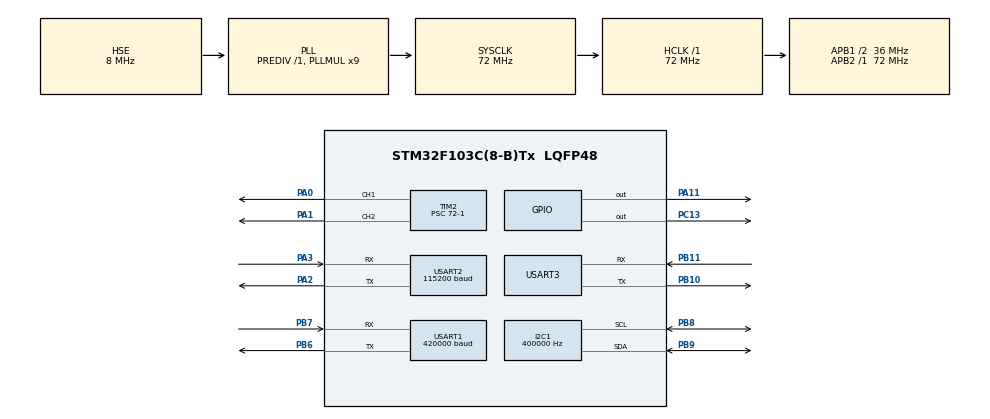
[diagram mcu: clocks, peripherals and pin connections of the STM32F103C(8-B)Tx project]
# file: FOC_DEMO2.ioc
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Dma.Request0=USART3_TX
Dma.Request1=USART3_RX
Dma.Request2=USART1_RX
Dma.Request3=USART1_TX
Dma.Request4=USART2_TX
Dma.Request5=USART2_RX
Dma.USART1_RX.2.Direction=DMA_PERIPH_TO_MEMORY
Dma.USART1_RX.2.Instance=DMA1_Channel5
Dma.USART1_RX.2.MemDataAlignment=DMA_MDATAALIGN_BYTE
Dma.USART1_RX.2.MemInc=DMA_MINC_ENABLE
Dma.USART1_RX.2.Mode=DMA_CIRCULAR
Dma.USART1_RX.2.PeriphDataAlignment=DMA_PDATAALIGN_BYTE
Dma.USART1_RX.2.PeriphInc=DMA_PINC_DISABLE
Dma.USART1_RX.2.Priority=DMA_PRIORITY_LOW
Dma.USART1_TX.3.Direction=DMA_MEMORY_TO_PERIPH
Dma.USART1_TX.3.Instance=DMA1_Channel4
Dma.USART1_TX.3.MemDataAlignment=DMA_MDATAALIGN_BYTE
Dma.USART1_TX.3.MemInc=DMA_MINC_ENABLE
Dma.USART1_TX.3.Mode=DMA_NORMAL
Dma.USART1_TX.3.PeriphDataAlignment=DMA_PDATAALIGN_BYTE
Dma.USART1_TX.3.PeriphInc=DMA_PINC_DISABLE
Dma.USART1_TX.3.Priority=DMA_PRIORITY_LOW
Dma.USART2_RX.5.Direction=DMA_PERIPH_TO_MEMORY
Dma.USART2_RX.5.Instance=DMA1_Channel6
Dma.USART2_RX.5.MemDataAlignment=DMA_MDATAALIGN_BYTE
Dma.USART2_RX.5.MemInc=DMA_MINC_ENABLE
Dma.USART2_RX.5.Mode=DMA_NORMAL
Dma.USART2_RX.5.PeriphDataAlignment=DMA_PDATAALIGN_BYTE
Dma.USART2_RX.5.PeriphInc=DMA_PINC_DISABLE
Dma.USART2_RX.5.Priority=DMA_PRIORITY_HIGH
Dma.USART2_TX.4.Direction=DMA_MEMORY_TO_PERIPH
Dma.USART2_TX.4.Instance=DMA1_Channel7
Dma.USART2_TX.4.MemDataAlignment=DMA_MDATAALIGN_BYTE
Dma.USART2_TX.4.MemInc=DMA_MINC_ENABLE
Dma.USART2_TX.4.Mode=DMA_NORMAL
Dma.USART2_TX.4.PeriphDataAlignment=DMA_PDATAALIGN_BYTE
Dma.USART2_TX.4.PeriphInc=DMA_PINC_DISABLE
Dma.USART2_TX.4.Priority=DMA_PRIORITY_HIGH
Dma.USART3_RX.1.Direction=DMA_PERIPH_TO_MEMORY
Dma.USART3_RX.1.Instance=DMA1_Channel3
Dma.USART3_RX.1.MemDataAlignment=DMA_MDATAALIGN_BYTE
Dma.USART3_RX.1.MemInc=DMA_MINC_ENABLE
Dma.USART3_RX.1.Mode=DMA_CIRCULAR
Dma.USART3_RX.1.PeriphDataAlignment=DMA_PDATAALIGN_BYTE
Dma.USART3_RX.1.PeriphInc=DMA_PINC_DISABLE
Dma.USART3_RX.1.Priority=DMA_PRIORITY_LOW
Dma.USART3_TX.0.Direction=DMA_MEMORY_TO_PERIPH
Dma.USART3_TX.0.Instance=DMA1_Channel2
Dma.USART3_TX.0.MemDataAlignment=DMA_MDATAALIGN_BYTE
Dma.USART3_TX.0.MemInc=DMA_MINC_ENABLE
Dma.USART3_TX.0.Mode=DMA_NORMAL
Dma.USART3_TX.0.PeriphDataAlignment=DMA_PDATAALIGN_BYTE
Dma.USART3_TX.0.PeriphInc=DMA_PINC_DISABLE
Dma.USART3_TX.0.Priority=DMA_PRIORITY_LOW
FREERTOS.HEAP_NUMBER=4
FREERTOS.Tasks01=defaultTask,24,128,StartDefaultTask,Default,NULL,Dynamic,NULL,NULL
FREERTOS.configCHECK_FOR_STACK_OVERFLOW=2
FREERTOS.configMINIMAL_STACK_SIZE=64
FREERTOS.configTOTAL_HEAP_SIZE=5120
FREERTOS.configUSE_NEWLIB_REENTRANT=1
IWDG.Prescaler=IWDG_PRESCALER_64
IWDG.Reload=2812
I2C1.ClockSpeed=400000
Mcu.Family=STM32F1
Mcu.Name=STM32F103C(8-B)Tx
Mcu.Package=LQFP48
NVIC.DMA1_Channel2_IRQn=true\:5\:0\:false\:false\:true\:true\:false\:true\:true
NVIC.DMA1_Channel3_IRQn=true\:5\:0\:false\:false\:true\:true\:false\:true\:true
NVIC.DMA1_Channel4_IRQn=true\:5\:0\:false\:false\:true\:true\:false\:true\:true
NVIC.DMA1_Channel5_IRQn=true\:5\:0\:false\:false\:true\:true\:false\:true\:true
NVIC.DMA1_Channel6_IRQn=true\:5\:0\:false\:false\:true\:true\:false\:true\:true
NVIC.DMA1_Channel7_IRQn=true\:5\:0\:false\:false\:true\:true\:false\:true\:true
NVIC.PriorityGroup=NVIC_PRIORITYGROUP_4
NVIC.TIM2_IRQn=true\:5\:0\:false\:false\:true\:true\:true\:true\:true
NVIC.TIM4_IRQn=true\:15\:0\:false\:false\:true\:false\:false\:true\:true
NVIC.TimeBase=TIM4_IRQn
NVIC.TimeBaseIP=TIM4
NVIC.USART1_IRQn=true\:5\:0\:false\:false\:true\:true\:true\:true\:true
NVIC.USART2_IRQn=true\:5\:0\:false\:false\:true\:true\:true\:true\:true
NVIC.USART3_IRQn=true\:5\:0\:false\:false\:true\:true\:true\:true\:true
PA0-WKUP.Signal=S_TIM2_CH1_ETR
PA1.Signal=S_TIM2_CH2
PA11.Signal=GPIO_Output
PA13.Mode=Serial_Wire
PA13.Signal=SYS_JTMS-SWDIO
PA14.Mode=Serial_Wire
PA14.Signal=SYS_JTCK-SWCLK
PA2.Mode=Asynchronous
PA2.Signal=USART2_TX
PA3.Mode=Asynchronous
PA3.Signal=USART2_RX
PB10.Mode=Asynchronous
PB10.Signal=USART3_TX
PB11.Mode=Asynchronous
PB11.Signal=USART3_RX
PB6.Mode=Asynchronous
PB6.Signal=USART1_TX
PB7.Mode=Asynchronous
PB7.Signal=USART1_RX
PB8.Mode=I2C
PB8.Signal=I2C1_SCL
PB9.Mode=I2C
PB9.Signal=I2C1_SDA
PC13-TAMPER-RTC.PinState=GPIO_PIN_RESET
PC13-TAMPER-RTC.Signal=GPIO_Output
PD0-OSC_IN.Mode=HSE-External-Oscillator
PD0-OSC_IN.Signal=RCC_OSC_IN
PD1-OSC_OUT.Mode=HSE-External-Oscillator
PD1-OSC_OUT.Signal=RCC_OSC_OUT
ProjectManager.HeapSize=0x200
ProjectManager.StackSize=0x400
ProjectManager.TargetToolchain=STM32CubeIDE
RCC.AHBFreq_Value=72000000
RCC.APB1CLKDivider=RCC_HCLK_DIV2
RCC.APB1Freq_Value=36000000
RCC.APB1TimFreq_Value=72000000
RCC.APB2Freq_Value=72000000
RCC.APB2TimFreq_Value=72000000
RCC.HCLKFreq_Value=72000000
RCC.PLLMUL=RCC_PLL_MUL9
RCC.PLLSourceVirtual=RCC_PLLSOURCE_HSE
RCC.SYSCLKFreq_VALUE=72000000
RCC.SYSCLKSource=RCC_SYSCLKSOURCE_PLLCLK
RCC.USBFreq_Value=72000000
SH.S_TIM2_CH1_ETR.0=TIM2_CH1,PWM Generation1 CH1
SH.S_TIM2_CH2.0=TIM2_CH2,PWM Generation2 CH2
TIM2.AutoReloadPreload=TIM_AUTORELOAD_PRELOAD_ENABLE
TIM2.Channel-PWM\ Generation1\ CH1=TIM_CHANNEL_1
TIM2.Channel-PWM\ Generation2\ CH2=TIM_CHANNEL_2
TIM2.Period=20000-1
TIM2.Prescaler=72-1
USART1.BaudRate=420000
USART1.VirtualMode=VM_ASYNC
USART2.BaudRate=115200
USART2.VirtualMode=VM_ASYNC
USART3.VirtualMode=VM_ASYNC
VP_FREERTOS_VS_CMSIS_V2.Mode=CMSIS_V2
VP_IWDG_VS_IWDG.Mode=IWDG_Activate
VP_SYS_VS_tim4.Mode=TIM4
VP_TIM2_VS_ClockSourceINT.Mode=Internal
board=custom

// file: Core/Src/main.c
/* USER CODE BEGIN Header */
/**
  ******************************************************************************
  * @file           : main.c
  * @brief          : Main program body
  ******************************************************************************
  * @attention
  *
  * Copyright (c) 2025 STMicroelectronics.
  * All rights reserved.
  *
  * This software is licensed under terms that can be found in the LICENSE file
  * in the root directory of this software component.
  * If no LICENSE file comes with this software, it is provided AS-IS.
  *
  ******************************************************************************
  */
/* USER CODE END Header */
#include "main.h"
#include "cmsis_os.h"
#include "dma.h"
#include "i2c.h"
#include "iwdg.h"
#include "tim.h"
#include "usart.h"
#include "gpio.h"

/* USER CODE BEGIN Includes */
#include "bsp_uart.h"
#include "bsp_gpio.h"
#include "bsp_pwm.h"

/* demo_v7 app-layer entries */
#include "app_control.h"
#include "app_debug.h"
#include "app_jy60_demo.h"
#include "app_hx8_jy60_capture.h"

/* USER CODE END Includes */

void SystemClock_Config(void);
void MX_FREERTOS_Init(void);

int main(void)
{

  /* MCU Configuration--------------------------------------------------------*/

  /* Reset of all peripherals, Initializes the Flash interface and the Systick. */
  HAL_Init();

  /* Configure the system clock */
  SystemClock_Config();

  /* Initialize all configured peripherals */
#if defined(HX8_JY60_CAPTURE)
  MX_GPIO_Init();
  MX_DMA_Init();
  MX_USART1_UART_Init();
  MX_USART2_UART_Init();
  MX_IWDG_Init();
  App_Hx8Jy60Capture_Run();
#elif defined(JY60_UART_DEMO)
  /* Sensor-only path: no PWM, HX8 UART, HC13, control tasks or homing. */
  MX_GPIO_Init();
  MX_DMA_Init();
  MX_USART1_UART_Init();
  MX_IWDG_Init();
  App_Jy60Demo_Run();
#else
  MX_GPIO_Init();
  MX_DMA_Init();
  MX_I2C1_Init();       /* PB8/PB9 sensor bus; VL53L1X uses address 0x29. */
  MX_USART3_UART_Init();  /* HC13 transparent UART on PB10/PB11. */
  MX_TIM2_Init();
  MX_USART1_UART_Init();
  MX_USART2_UART_Init();
  MX_IWDG_Init();
  /* USER CODE BEGIN 2 */
    BSP_UART_Init(); // 确保串口先初始化，方便打印 Log
#if !defined(TOFSENSE_SAFE_TEST)
    /* Sensor-only validation must not start either PTK PWM output. */
    BSP_PWM_Init();
#endif

    /* PB8/PB9 provide the I2C1 sensor bus. */

    /* demo_v7: bring up app-layer dependencies before kernel starts. The
     * actual ControlTask / DebugTask are created from RTOS_THREADS in
     * freertos.c. */
    App_Control_InitDeps();
    App_Debug_InitDeps();

  /* USER CODE END 2 */

  /* Init scheduler */
  osKernelInitialize();  /* Call init function for freertos objects (in cmsis_os2.c) */
  MX_FREERTOS_Init();

  /* Start scheduler */
  osKernelStart();

  /* We should never get here as control is now taken by the scheduler */

  /* Infinite loop */
  while (1)
  {

  }
#endif
}

void SystemClock_Config(void)
{
  RCC_OscInitTypeDef RCC_OscInitStruct = {0};
  RCC_ClkInitTypeDef RCC_ClkInitStruct = {0};

  /** Initializes the RCC Oscillators according to the specified parameters
  * in the RCC_OscInitTypeDef structure.
  */
  RCC_OscInitStruct.OscillatorType = RCC_OSCILLATORTYPE_LSI|RCC_OSCILLATORTYPE_HSE;
  RCC_OscInitStruct.HSEState = RCC_HSE_ON;
  RCC_OscInitStruct.HSEPredivValue = RCC_HSE_PREDIV_DIV1;
  RCC_OscInitStruct.HSIState = RCC_HSI_ON;
  RCC_OscInitStruct.LSIState = RCC_LSI_ON;
  RCC_OscInitStruct.PLL.PLLState = RCC_PLL_ON;
  RCC_OscInitStruct.PLL.PLLSource = RCC_PLLSOURCE_HSE;
  RCC_OscInitStruct.PLL.PLLMUL = RCC_PLL_MUL9;
  if (HAL_RCC_OscConfig(&RCC_OscInitStruct) != HAL_OK)
  {
    Error_Handler();
  }

  /** Initializes the CPU, AHB and APB buses clocks
  */
  RCC_ClkInitStruct.ClockType = RCC_CLOCKTYPE_HCLK|RCC_CLOCKTYPE_SYSCLK
                              |RCC_CLOCKTYPE_PCLK1|RCC_CLOCKTYPE_PCLK2;
  RCC_ClkInitStruct.SYSCLKSource = RCC_SYSCLKSOURCE_PLLCLK;
  RCC_ClkInitStruct.AHBCLKDivider = RCC_SYSCLK_DIV1;
  RCC_ClkInitStruct.APB1CLKDivider = RCC_HCLK_DIV2;
  RCC_ClkInitStruct.APB2CLKDivider = RCC_HCLK_DIV1;

  if (HAL_RCC_ClockConfig(&RCC_ClkInitStruct, FLASH_LATENCY_2) != HAL_OK)
  {
    Error_Handler();
  }
}

void HAL_TIM_PeriodElapsedCallback(TIM_HandleTypeDef *htim)
{
  if (htim->Instance == TIM4)
  {
    HAL_IncTick();
  }
}

void Error_Handler(void)
{
  __disable_irq();
  while (1)
  {
  }
}

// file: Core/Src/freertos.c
/* USER CODE BEGIN Header */
/**
  ******************************************************************************
  * File Name          : freertos.c
  * Description        : Code for freertos applications
  ******************************************************************************
  * @attention
  *
  * Copyright (c) 2025 STMicroelectronics.
  * All rights reserved.
  *
  * This software is licensed under terms that can be found in the LICENSE file
  * in the root directory of this software component.
  * If no LICENSE file comes with this software, it is provided AS-IS.
  *
  ******************************************************************************
  */
/* USER CODE END Header */

#include "FreeRTOS.h"
#include "task.h"
#include "main.h"
#include "cmsis_os.h"

/* USER CODE BEGIN Includes */
#include "stdio.h"
#include "bsp_uart.h"
#include "task_motion.h"   // [添加]
#include "test_rc_console.h"
#include <math.h> // 用于测试浮点打印

/* demo_v7 app-layer entries */
#include "app_control.h"
#include "app_debug.h"
#include "app_housekeeping.h"
#include "app_tof.h"
#include "iwdg.h"
/* USER CODE END Includes */

/* Definitions for defaultTask */
osThreadId_t defaultTaskHandle;
const osThreadAttr_t defaultTask_attributes = {
  .name = "defaultTask",
  .stack_size = 128 * 4,
  .priority = (osPriority_t) osPriorityNormal,
};

void StartDefaultTask(void *argument);

void MX_FREERTOS_Init(void); /* (MISRA C 2004 rule 8.1) */

/* Hook prototypes */
void vApplicationStackOverflowHook(xTaskHandle xTask, signed char *pcTaskName);

/* USER CODE BEGIN 4 */
/* CubeMX generated an empty hook stub here; the real implementation lives
 * in USER CODE Application section below to avoid duplicate definition. */
/* USER CODE END 4 */

void MX_FREERTOS_Init(void) {

  /* Create the thread(s) */
  /* creation of defaultTask */
  defaultTaskHandle = osThreadNew(StartDefaultTask, NULL, &defaultTask_attributes);

  /* USER CODE BEGIN RTOS_THREADS */
  /* demo_v7: create application threads. defaultTask above continues to run
   * App_Housekeeping_Step at 1Hz; ControlTask and DebugTask are created here. */
#if !defined(TOFSENSE_SAFE_TEST)
  App_Control_Init();
  App_Tof_Init();
#endif
  App_Debug_Init();
  /* USER CODE END RTOS_THREADS */

}

void StartDefaultTask(void *argument)
{
  /* USER CODE BEGIN StartDefaultTask */
    (void)argument;

    /* demo_v7: defaultTask runs the housekeeping janitor at 1Hz.
     * It feeds IWDG only when ControlTask heartbeat is fresh. */
#if defined(TOFSENSE_SAFE_TEST)
    /* The sensor-only build intentionally has no ControlTask heartbeat.
     * Feed IWDG directly while leaving every actuator task disabled. */
    for (;;) {
        (void)HAL_IWDG_Refresh(&hiwdg);
        osDelay(100);
    }
#else
    App_Housekeeping_Init();

    for (;;) {
        App_Housekeeping_Step();
        osDelay(1000);
    }
#endif
  /* USER CODE END StartDefaultTask */
}

/* USER CODE BEGIN Application */

/* Minimal stack-overflow hook. Halts in a visible loop so a debugger
 * trace shows which task blew its stack. Signature must match the
 * prototype above (xTaskHandle / signed char*) so the linker resolves
 * to a single symbol. */
void vApplicationStackOverflowHook(xTaskHandle xTask, signed char *pcTaskName)
{
    (void)xTask;
    (void)pcTaskName;
    taskDISABLE_INTERRUPTS();
    for (;;) { __asm volatile ("nop"); }
}

/* USER CODE END Application */
